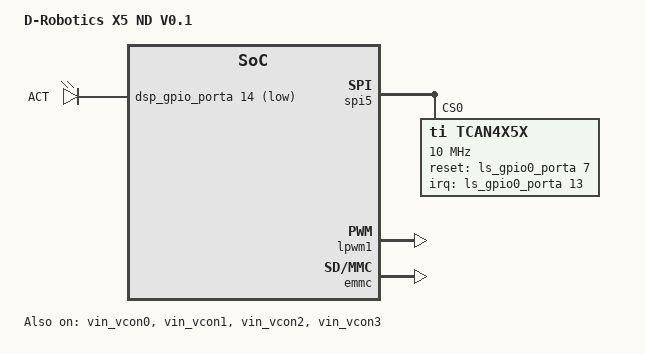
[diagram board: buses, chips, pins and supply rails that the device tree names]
// SPDX-License-Identifier: GPL-2.0
/*
 * dts for Sunrise5 EVB-V2 platform
 *
 * Copyright (C) 2024 Horizon Robotics Inc.
 *
 */

/dts-v1/;
#include "x5-rdk.dtsi"

/ {
	model = "D-Robotics X5 ND V0.1";

	leds {
		status = "okay";
		compatible = "gpio-leds";

		act_led: led-act {
			label = "ACT";
			gpios = <&dsp_gpio_porta 14 GPIO_ACTIVE_LOW>;
			linux,default-trigger = "heartbeat";
		};
	};
};

&dsp_iomuxc {
	dsp_gpio0_15: dsp_gpio0_15 {
		horizon,pins = <
			DSP_PDM_IN0  DSP_PINMUX_0  BIT_OFFSET26  MUX_ALT1  &pconf_drv_pu_ds7_1v8
		>;
	};

	dsp_gpio0_16: dsp_gpio0_16 {
		horizon,pins = <
			DSP_PDM_IN1  DSP_PINMUX_0  BIT_OFFSET28  MUX_ALT1  &pconf_drv_pu_ds7_1v8
		>;
	};

	dsp_gpio0_17: dsp_gpio0_17 {
		horizon,pins = <
			DSP_PDM_IN2  DSP_PINMUX_0  BIT_OFFSET30  MUX_ALT1  &pconf_output_high
		>;
	};

	dsp_gpio0_18: dsp_gpio0_18 {
		horizon,pins = <
			DSP_PDM_IN3  DSP_PINMUX_1  BIT_OFFSET0  MUX_ALT1  &pconf_output_low
		>;
	};
};

&lsio_iomuxc {
	lsio_gpio0_12: lsio_gpio0_12 {
		horizon,pins = <
			LSIO_UART4_RX	LSIO_PINMUX_3 BIT_OFFSET24	MUX_ALT2	&pconf_output_high
		>;
	};
};

&dsp_gpio_porta {
	pinctrl-names = "default";
	pinctrl-0 = < &dsp_gpio0_15
					&dsp_gpio0_16
					&dsp_gpio0_17
					&dsp_gpio0_18
				>;
};

&ls_gpio0_porta {
	pinctrl-names = "default";
	pinctrl-0 = <&lsio_gpio0_12>;//USB HUB RESET high
};

&spi5 {
	status = "okay";
	pinctrl-names = "default";
	pinctrl-0 = <&pinctrl_spi5 &lsio_gpio0_7 &lsio_gpio0_13>;

	tcan4x5x: tcan4x5x@0 {
		compatible = "ti,tcan4x5x";
		reg = <0>;
		#address-cells = <1>;
		#size-cells = <1>;
		spi-max-frequency = <10000000>;
		bosch,mram-cfg = <0x0 0 0 16 0 0 1 1>;
		interrupt-parent = <&ls_gpio0_porta>;
		interrupts = <13 IRQ_TYPE_EDGE_FALLING>;
		reset-gpios = <&ls_gpio0_porta 7 GPIO_ACTIVE_HIGH>;
	};
};

&lpwm1 {
	status = "okay";
	pinctrl-names = "default";
	/** for display backlight **/
	pinctrl-0 = <&pinctrl_lpwm1_0 &pinctrl_lpwm1_1>;
};

&vin_vcon0 {
	status = "okay";
	/* camera sensor
	 * reset gpio:	LSIO_GPIO1_PIN6:	353
	 * lpwm      :  LSIO_SPI3_SCLK  :   pinctrl_lpwm1_0
	 */
	pinctrl-names = "default";
	pinctrl-0 = <&lsio_gpio1_6>;
	gpio_oth = <353>;   // reset gpio
	bus = <6>; // i2c bus
	lpwm_chn = <4>;
};

&vin_vcon1 {
	status = "okay";
	// use same sensor gpio with vcon0 and i2c bus
	bus = <6>;
};

&vin_vcon2 {
	status = "okay";
	/* camera sensor
	 * reset gpio:	LSIO_GPIO1_PIN4:	351
	 * lpwm      :  LSIO_SPI3_SSN  :    pinctrl_lpwm1_1
	 */
	pinctrl-names = "default";
	pinctrl-0 = <&lsio_gpio1_4>;
	gpio_oth = <351>;   // reset gpio
	bus = <4>;  // i2c bus
	lpwm_chn = <5>;
};

&vin_vcon3 {
	status = "okay";
	// use same sensor gpio with vcon2 and i2c bus
	bus = <4>;
};

&emmc {
	status = "okay";
	fixed-emmc-driver-type = <2>;
};
